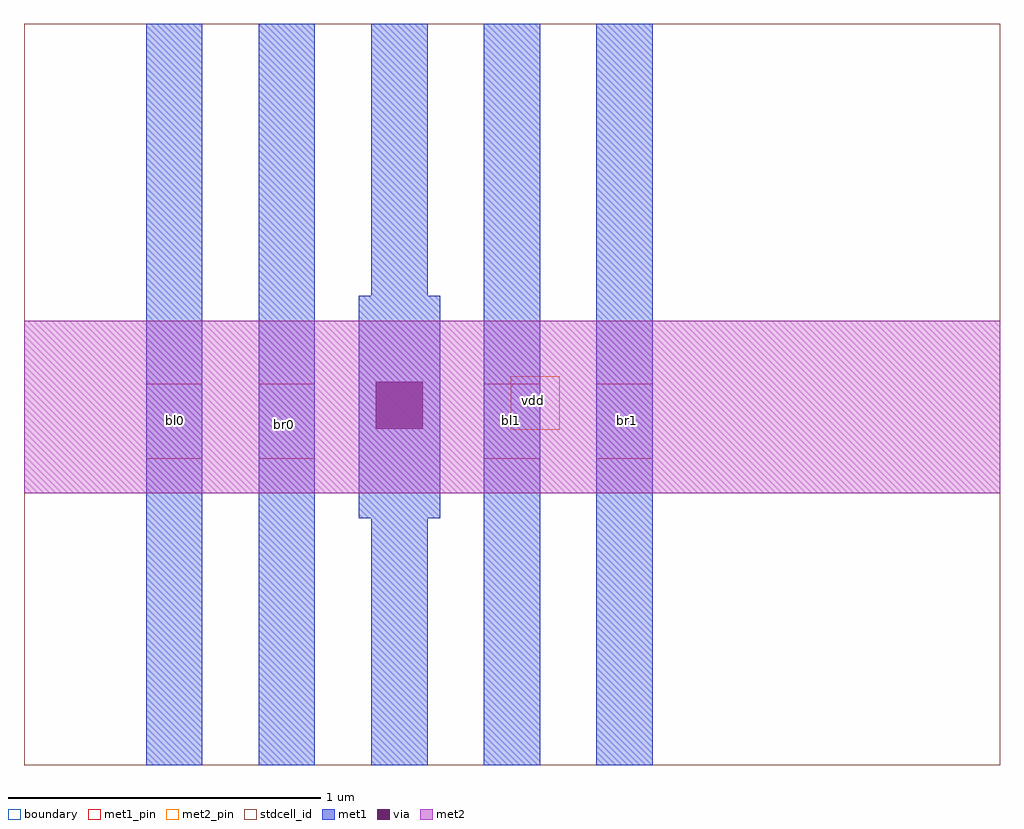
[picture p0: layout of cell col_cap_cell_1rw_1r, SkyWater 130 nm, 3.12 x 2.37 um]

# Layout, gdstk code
import gdstk
lib = gdstk.Library(unit=1e-6, precision=1e-09)
def R(c, l, rs):  # rectangles x0, y0, x1, y1
    for r in rs: c.add(gdstk.rectangle(r[:2], r[2:], *l))
def A(c, l, x, y, w, h, nx, ny, dx, dy):  # array of equal rectangles
    R(c, l, [(x+i*dx, y+j*dy, x+i*dx+w, y+j*dy+h) for i in range(nx) for j in range(ny)])
met1_pin = (68, 16)
met1 = (68, 20)
via = (68, 44)
met2_pin = (69, 16)
met2 = (69, 20)
stdcell_id = (81, 4)
boundary = (235, 4)

col_cap_cell_1rw_1r = lib.new_cell('col_cap_cell_1rw_1r')
R(col_cap_cell_1rw_1r, met1_pin, [(0.39,0.98,0.57,1.22), (0.75,0.98,0.93,1.22), (1.47,0.98,1.65,1.22), (1.47,0.98,1.65,1.22), (1.83,0.98,2.01,1.22)])
A(col_cap_cell_1rw_1r, met1, 0.39, 0, 0.18, 0.79, 5, 1, 0.36, 0)
A(col_cap_cell_1rw_1r, met1, 0.39, 0.79, 0.18, 1.58, 5, 1, 0.36, 0)
R(col_cap_cell_1rw_1r, met1, [(1.07,0.79,1.2,1.5), (1.2,0.79,1.33,1.5)])
R(col_cap_cell_1rw_1r, via, [(1.125,1.075,1.275,1.225)])
R(col_cap_cell_1rw_1r, met2_pin, [(1.556,1.073,1.712,1.243)])
R(col_cap_cell_1rw_1r, met2, [(0,0.87,3.12,1.42)])
R(col_cap_cell_1rw_1r, stdcell_id, [(0,0,3.12,2.37)])
R(col_cap_cell_1rw_1r, boundary, [(0,0,3.12,2.37)])
col_cap_cell_1rw_1r.add(gdstk.Label('bl0', (0.485,1.103), layer=68, texttype=20))
col_cap_cell_1rw_1r.add(gdstk.Label('bl1', (1.557,1.103), layer=68, texttype=20))
col_cap_cell_1rw_1r.add(gdstk.Label('br0', (0.832,1.089), layer=68, texttype=20))
col_cap_cell_1rw_1r.add(gdstk.Label('br1', (1.928,1.103), layer=68, texttype=20))
col_cap_cell_1rw_1r.add(gdstk.Label('vdd', (1.63,1.166), layer=69, texttype=20))

lib.write_gds('col_cap_cell_1rw_1r.gds')
